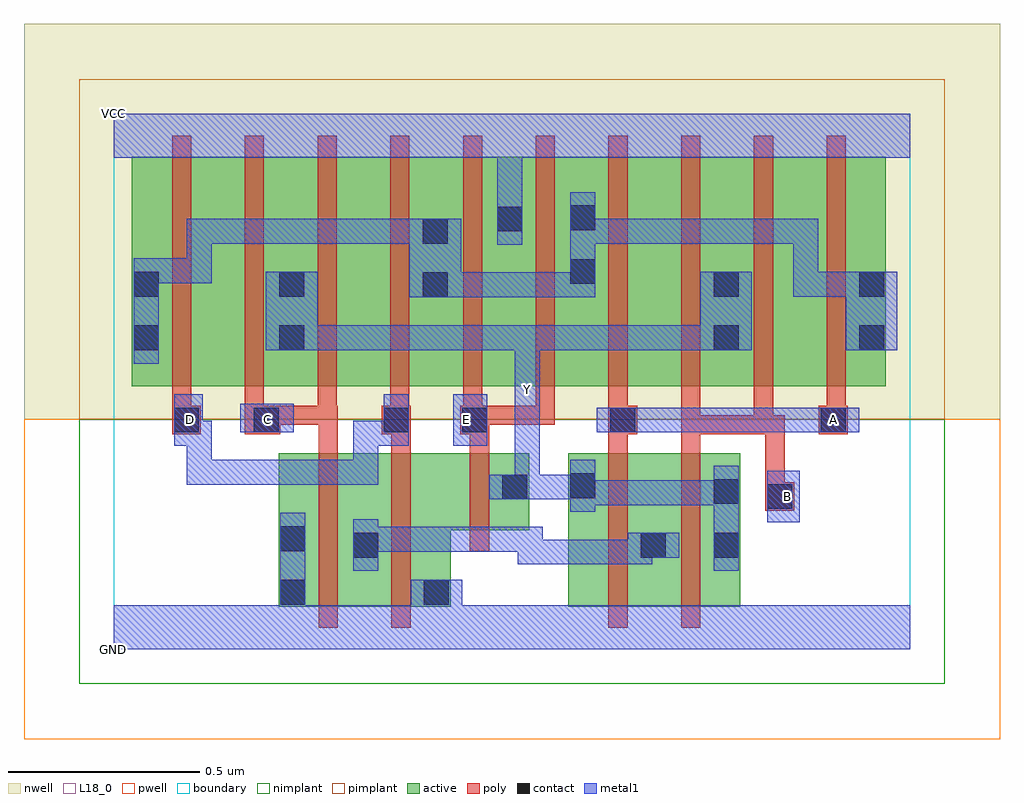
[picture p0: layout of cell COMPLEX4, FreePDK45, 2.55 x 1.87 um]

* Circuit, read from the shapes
.subckt COMPLEX4 A B C D E GND VCC Y
M1 n1 C GND VSUBS nfet w=0.4u l=0.05u
M2 GND D n1 VSUBS nfet w=0.4u l=0.05u
M3 Y E GND VSUBS nfet w=0.2u l=0.05u
M4 n1 A Y VSUBS nfet w=0.4u l=0.05u
M5 Y B n1 VSUBS nfet w=0.4u l=0.05u
M6 n2 D n3 n4 pfet w=0.6u l=0.05u
M7 Y C n2 n4 pfet w=0.6u l=0.05u
M8 n5 C Y n4 pfet w=0.6u l=0.05u
M9 n3 D n5 n4 pfet w=0.6u l=0.05u
M10 VCC E n3 n4 pfet w=0.6u l=0.05u m=2
M11 n6 A n3 n4 pfet w=0.6u l=0.05u
M12 Y B n6 n4 pfet w=0.6u l=0.05u
M13 n7 B Y n4 pfet w=0.6u l=0.05u
M14 n3 A n7 n4 pfet w=0.6u l=0.05u
.ends

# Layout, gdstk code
import gdstk
lib = gdstk.Library(unit=1e-6, precision=1e-09)
def R(c, l, rs):  # rectangles x0, y0, x1, y1
    for r in rs: c.add(gdstk.rectangle(r[:2], r[2:], *l))
def A(c, l, x, y, w, h, nx, ny, dx, dy):  # array of equal rectangles
    R(c, l, [(x+i*dx, y+j*dy, x+i*dx+w, y+j*dy+h) for i in range(nx) for j in range(ny)])
active = (1, 0)
pwell = (2, 0)
nwell = (3, 0)
nimplant = (4, 0)
pimplant = (5, 0)
poly = (9, 0)
contact = (10, 0)
metal1 = (11, 0)
L18_0 = (18, 0)
boundary = (235, 0)

complex4 = lib.new_cell('COMPLEX4')
R(complex4, active, [(0.43,0.112,0.695,0.512), (0.43,0.112,0.505,0.512), (0.62,0.112,0.88,0.512), (0.805,0.112,0.88,0.405), (1.187,0.112,1.447,0.512), (1.372,0.112,1.637,0.512), (0.62,0.147,0.695,0.492), (1.187,0.147,1.262,0.512), (1.372,0.147,1.447,0.492), (1.562,0.147,1.637,0.512), (0.805,0.312,1.085,0.512), (1.01,0.332,1.085,0.512), (0.047,0.687,0.272,1.287), (0.047,0.687,0.152,1.2), (0.272,0.687,0.502,1.287), (0.427,0.687,0.652,1.287), (0.652,0.687,0.877,1.287), (0.802,0.687,1.072,1.287), (0.997,0.687,1.262,1.287), (1.187,0.687,1.412,1.287), (1.412,0.687,1.637,1.287), (1.562,0.687,1.792,1.287), (1.792,0.687,2.017,1.287), (1.942,0.687,2.017,1.2), (0.427,0.707,0.502,1.07), (0.802,0.707,0.877,1.2), (0.997,0.707,1.072,1.267), (1.187,0.707,1.262,1.2), (1.562,0.707,1.637,1.07)])
R(complex4, pwell, [(-0.235,-0.235,2.315,0.602)])
R(complex4, nwell, [(-0.235,0.602,2.315,1.635)])
R(complex4, nimplant, [(-0.09,-0.09,2.17,0.602)])
R(complex4, pimplant, [(-0.09,0.602,2.17,1.49)])
A(complex4, poly, 0.152, 0.587, 0.05, 0.095, 7, 1, 0.19, 0)
A(complex4, poly, 0.152, 0.632, 0.05, 0.71, 10, 1, 0.19, 0)
R(complex4, poly, [(0.535,0.057,0.585,0.567), (0.725,0.057,0.775,0.567), (1.292,0.057,1.342,0.567), (1.482,0.057,1.532,0.567), (0.93,0.257,0.98,0.567), (1.702,0.362,1.777,0.437), (1.702,0.387,1.752,0.612), (1.702,0.387,1.752,0.437), (1.702,0.387,1.752,0.437), (0.535,0.517,0.585,0.637), (0.725,0.517,0.775,0.612), (0.93,0.517,0.98,0.612), (1.292,0.517,1.342,0.612), (1.482,0.517,1.532,0.612), (0.152,0.562,0.227,0.637), (0.342,0.562,0.435,0.637), (0.7,0.562,0.775,0.637), (0.905,0.562,0.98,0.637), (1.292,0.562,1.367,0.637), (1.482,0.562,1.532,0.682), (1.482,0.562,1.722,0.612), (1.482,0.562,1.532,0.612), (1.482,0.562,1.532,0.612), (1.482,0.562,1.532,0.612), (1.672,0.562,1.722,0.682), (1.672,0.562,1.752,0.612), (1.842,0.562,1.917,0.637), (0.385,0.587,0.435,0.637), (0.385,0.587,0.435,0.637), (0.385,0.587,0.582,0.637), (0.532,0.587,0.585,0.637), (0.93,0.587,1.152,0.637), (1.102,0.587,1.152,0.637), (1.102,0.587,1.152,0.637), (1.102,0.587,1.152,0.637), (1.862,0.587,1.912,0.682)])
R(complex4, contact, [(0.435,0.117,0.5,0.182), (0.81,0.117,0.875,0.182), (0.625,0.24,0.69,0.305), (1.377,0.24,1.442,0.305), (1.567,0.24,1.632,0.305), (0.435,0.257,0.5,0.322), (1.707,0.367,1.772,0.432), (1.567,0.38,1.632,0.445), (1.015,0.392,1.08,0.457), (1.192,0.395,1.257,0.46), (0.157,0.567,0.222,0.632), (0.365,0.567,0.43,0.632), (0.705,0.567,0.77,0.632), (0.91,0.567,0.975,0.632), (1.297,0.567,1.362,0.632), (1.847,0.567,1.912,0.632), (0.052,0.782,0.117,0.847), (0.432,0.782,0.497,0.847), (1.567,0.782,1.632,0.847), (1.947,0.782,2.012,0.847), (0.807,0.92,0.872,0.985), (0.052,0.922,0.117,0.987), (0.432,0.922,0.497,0.987), (1.567,0.922,1.632,0.987), (1.947,0.922,2.012,0.987), (1.192,0.955,1.257,1.02), (0.807,1.06,0.872,1.125), (1.002,1.092,1.067,1.157), (1.192,1.095,1.257,1.16)])
R(complex4, metal1, [(0,0,2.08,0.115), (0.435,0.05,0.5,0.147), (0.845,0.05,0.91,0.182), (0.435,0.082,0.5,0.357), (0.775,0.117,0.91,0.182), (0.625,0.205,0.69,0.34), (1.567,0.205,1.632,0.48), (1.055,0.222,1.12,0.287), (1.055,0.222,1.12,0.287), (1.055,0.222,1.257,0.287), (1.055,0.222,1.12,0.32), (1.192,0.222,1.257,0.287), (1.192,0.222,1.407,0.287), (1.342,0.222,1.407,0.305), (1.342,0.24,1.407,0.305), (1.342,0.24,1.477,0.305), (0.625,0.255,0.69,0.32), (0.625,0.255,0.69,0.32), (0.625,0.255,0.827,0.32), (0.762,0.255,0.827,0.32), (0.762,0.255,0.827,0.32), (0.762,0.255,0.827,0.32), (0.762,0.255,1.12,0.32), (1.707,0.332,1.792,0.467), (1.192,0.36,1.257,0.495), (1.192,0.377,1.257,0.442), (1.192,0.377,1.257,0.442), (1.192,0.377,1.395,0.442), (1.33,0.377,1.395,0.442), (1.33,0.377,1.597,0.442), (1.532,0.377,1.597,0.442), (1.532,0.377,1.632,0.442), (0.98,0.392,1.115,0.457), (1.047,0.392,1.112,0.677), (1.05,0.392,1.115,0.457), (1.05,0.392,1.115,0.457), (1.05,0.392,1.257,0.457), (0.19,0.43,0.255,0.495), (0.19,0.43,0.392,0.495), (0.19,0.43,0.255,0.597), (0.327,0.43,0.392,0.495), (0.327,0.43,0.392,0.495), (0.327,0.43,0.392,0.495), (0.327,0.43,0.552,0.495), (0.487,0.43,0.552,0.495), (0.487,0.43,0.69,0.495), (0.625,0.43,0.69,0.495), (0.625,0.43,0.69,0.597), (0.157,0.532,0.232,0.667), (0.167,0.532,0.255,0.597), (0.19,0.532,0.255,0.597), (0.625,0.532,0.69,0.597), (0.625,0.532,0.77,0.597), (0.705,0.532,0.77,0.667), (0.887,0.532,0.975,0.667), (0.33,0.567,0.47,0.642), (1.262,0.567,1.397,0.632), (1.332,0.567,1.397,0.632), (1.332,0.567,1.397,0.632), (1.332,0.567,1.545,0.632), (1.48,0.567,1.545,0.632), (1.48,0.567,1.545,0.632), (1.48,0.567,1.545,0.632), (1.48,0.567,1.74,0.632), (1.675,0.567,1.74,0.632), (1.675,0.567,1.74,0.632), (1.675,0.567,1.74,0.632), (1.675,0.567,1.877,0.632), (1.812,0.567,1.947,0.632), (1.047,0.612,1.112,0.747), (1.047,0.682,1.112,0.847), (0.052,0.747,0.117,1.022), (0.397,0.782,0.532,0.987), (0.467,0.782,0.532,0.847), (0.467,0.782,0.532,0.847), (0.467,0.782,0.69,0.847), (0.625,0.782,0.69,0.847), (0.625,0.782,0.69,0.847), (0.625,0.782,0.69,0.847), (0.625,0.782,0.827,0.847), (0.762,0.782,0.827,0.847), (0.762,0.782,0.827,0.847), (0.762,0.782,0.827,0.847), (0.762,0.782,1.112,0.847), (1.047,0.782,1.112,0.847), (1.047,0.782,1.112,0.847), (1.047,0.782,1.112,0.847), (1.047,0.782,1.257,0.847), (1.192,0.782,1.257,0.847), (1.192,0.782,1.407,0.847), (1.342,0.782,1.407,0.847), (1.342,0.782,1.407,0.847), (1.342,0.782,1.407,0.847), (1.342,0.782,1.597,0.847), (1.532,0.782,1.597,0.847), (1.532,0.782,1.597,0.847), (1.532,0.782,1.667,0.987), (1.912,0.782,2.047,0.987), (0.772,0.92,0.907,1.125), (0.842,0.92,0.907,0.985), (0.842,0.92,0.907,0.985), (0.842,0.92,1.12,0.985), (1.055,0.92,1.12,0.985), (1.055,0.92,1.12,0.985), (1.055,0.92,1.12,0.985), (1.055,0.92,1.257,0.985), (1.192,0.92,1.257,1.195), (1.775,0.922,1.84,0.987), (1.775,0.922,1.977,0.987), (1.775,0.922,1.84,1.125), (1.912,0.922,1.977,0.987), (1.912,0.922,1.977,0.987), (0.052,0.957,0.117,1.022), (0.052,0.957,0.117,1.022), (0.052,0.957,0.255,1.022), (0.19,0.957,0.255,1.022), (0.19,0.957,0.255,1.125), (1.002,1.057,1.067,1.192), (0.19,1.06,0.255,1.125), (0.19,1.06,0.392,1.125), (0.327,1.06,0.392,1.125), (0.327,1.06,0.392,1.125), (0.327,1.06,0.392,1.125), (0.327,1.06,0.53,1.125), (0.465,1.06,0.53,1.125), (0.465,1.06,0.67,1.125), (0.605,1.06,0.67,1.125), (0.605,1.06,0.69,1.125), (0.625,1.06,0.69,1.125), (0.625,1.06,0.837,1.125), (1.192,1.06,1.257,1.125), (1.192,1.06,1.257,1.125), (1.192,1.06,1.395,1.125), (1.33,1.06,1.395,1.125), (1.33,1.06,1.557,1.125), (1.492,1.06,1.557,1.125), (1.492,1.06,1.557,1.125), (1.492,1.06,1.557,1.125), (1.492,1.06,1.735,1.125), (1.67,1.06,1.735,1.125), (1.67,1.06,1.84,1.125), (1.775,1.06,1.84,1.125), (1.002,1.127,1.067,1.35), (0,1.285,2.08,1.4)])
R(complex4, L18_0, [(0,0,2.08,0.115), (0.435,0.05,0.5,0.147), (0.845,0.05,0.91,0.182), (0.435,0.082,0.5,0.357), (0.775,0.117,0.91,0.182), (1.567,0.205,1.632,0.48), (1.707,0.332,1.792,0.467), (1.192,0.36,1.257,0.495), (1.727,0.367,1.792,0.432), (1.192,0.377,1.257,0.442), (1.192,0.377,1.257,0.442), (1.192,0.377,1.395,0.442), (1.33,0.377,1.395,0.442), (1.33,0.377,1.597,0.442), (1.532,0.377,1.597,0.442), (1.532,0.377,1.632,0.442), (0.98,0.392,1.115,0.457), (1.047,0.392,1.112,0.677), (1.05,0.392,1.115,0.457), (1.05,0.392,1.115,0.457), (1.05,0.392,1.257,0.457), (0.19,0.43,0.255,0.495), (0.19,0.43,0.255,0.597), (0.19,0.43,0.392,0.495), (0.327,0.43,0.392,0.495), (0.327,0.43,0.392,0.495), (0.327,0.43,0.392,0.495), (0.327,0.43,0.552,0.495), (0.487,0.43,0.552,0.495), (0.487,0.43,0.69,0.495), (0.625,0.43,0.69,0.495), (0.625,0.43,0.69,0.597), (0.157,0.532,0.232,0.667), (0.167,0.532,0.255,0.597), (0.19,0.532,0.255,0.597), (0.625,0.532,0.69,0.597), (0.625,0.532,0.77,0.597), (0.705,0.532,0.77,0.667), (0.887,0.532,0.975,0.667), (0.167,0.567,0.232,0.632), (0.33,0.567,0.47,0.642), (0.367,0.567,0.432,0.632), (0.887,0.567,0.952,0.632), (1.262,0.567,1.397,0.632), (1.332,0.567,1.397,0.632), (1.332,0.567,1.397,0.632), (1.332,0.567,1.545,0.632), (1.48,0.567,1.545,0.632), (1.48,0.567,1.545,0.632), (1.48,0.567,1.545,0.632), (1.48,0.567,1.74,0.632), (1.675,0.567,1.74,0.632), (1.675,0.567,1.74,0.632), (1.675,0.567,1.74,0.632), (1.675,0.567,1.877,0.632), (1.812,0.567,1.947,0.632), (1.847,0.567,1.912,0.632), (1.047,0.612,1.112,0.747), (1.047,0.647,1.112,0.712), (1.047,0.682,1.112,0.847), (0.397,0.782,0.532,0.987), (0.467,0.782,0.532,0.847), (0.467,0.782,0.532,0.847), (0.467,0.782,0.69,0.847), (0.625,0.782,0.69,0.847), (0.625,0.782,0.69,0.847), (0.625,0.782,0.69,0.847), (0.625,0.782,0.827,0.847), (0.762,0.782,0.827,0.847), (0.762,0.782,0.827,0.847), (0.762,0.782,0.827,0.847), (0.762,0.782,1.112,0.847), (1.047,0.782,1.112,0.847), (1.047,0.782,1.112,0.847), (1.047,0.782,1.112,0.847), (1.047,0.782,1.257,0.847), (1.192,0.782,1.257,0.847), (1.192,0.782,1.407,0.847), (1.342,0.782,1.407,0.847), (1.342,0.782,1.407,0.847), (1.342,0.782,1.407,0.847), (1.342,0.782,1.597,0.847), (1.532,0.782,1.597,0.847), (1.532,0.782,1.597,0.847), (1.532,0.782,1.667,0.987), (1.002,1.057,1.067,1.192), (1.002,1.127,1.067,1.35), (0,1.285,2.08,1.4)])
R(complex4, boundary, [(0,0,2.08,1.4)])
complex4.add(gdstk.Label('A', (1.88,0.6), layer=11, texttype=0))
complex4.add(gdstk.Label('B', (1.76,0.4), layer=11, texttype=0))
complex4.add(gdstk.Label('C', (0.4,0.6), layer=11, texttype=0))
complex4.add(gdstk.Label('D', (0.2,0.6), layer=11, texttype=0))
complex4.add(gdstk.Label('E', (0.92,0.6), layer=11, texttype=0))
complex4.add(gdstk.Label('Y', (1.08,0.68), layer=11, texttype=0))
complex4.add(gdstk.Label('VCC', (0,1.4), layer=11, texttype=0))
complex4.add(gdstk.Label('GND', (0,0), layer=11, texttype=0))

lib.write_gds('COMPLEX4.gds')
